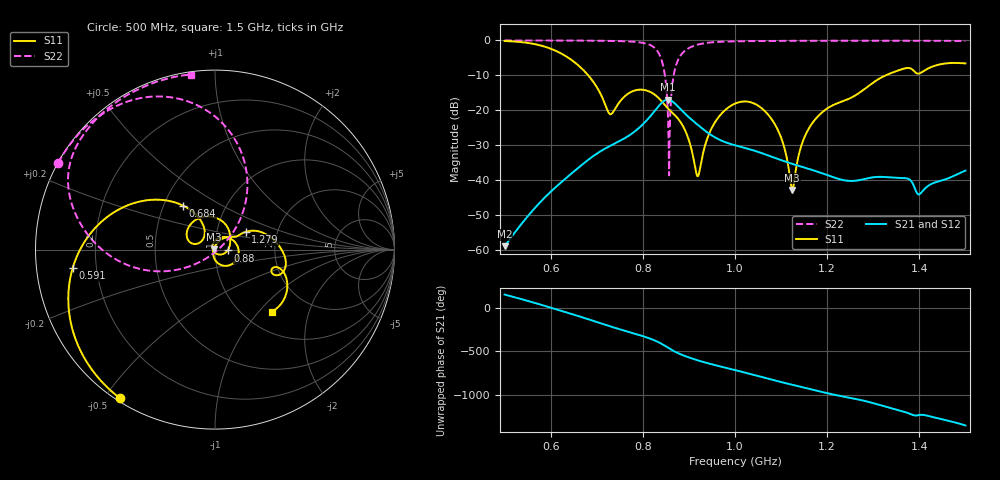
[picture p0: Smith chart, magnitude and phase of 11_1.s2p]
! TOUCHSTONE file generated by CST MICROWAVE STUDIO
! Date and time: Fri Oct  2 18:53:07 2020
! Project name: Scenario_1_Free_Space_out_of_line.cst
! Parameters = {Lambda=346.42; Step_1=17.321; dy1=174.23; dx1=173; L_HA=400; MT=2.54; Rad_Dielectric=30; Rad_Lower=7.3; Rad_Upper=30; a_HA=580; a_WG=246; b_HA=500; b_WG=121; c_HA=0; c_WG=187; d_feed=85; h_feed=15; h_lower=18; h_upper=40}
! Header version: 2018
! Port assignment regex: !\s*Touchstone port\s*([0-9]+)\s*=\s*(CST MWS port|CST DS port)\s*([0-9]+|Zmin|Zmax)\s*\(\"(.*)\"\)(\s*mode\s*([0-9]+))?.*
! Touchstone port assignment:
! Touchstone port 1 = CST MWS port 1 ("")
! Touchstone port 2 = CST MWS port 2 ("")
# GHz S DB R 50
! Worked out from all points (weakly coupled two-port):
!   1003 points, 500 MHz to 1.5 GHz, reference 50 ohm
!   highest |S21| = -16.93 dB at 854 MHz (marker M1); lowest = -58.9 dB at 500 MHz (marker M2)
!   lowest |S11| = -42.8 dB at 1.124 GHz (marker M3), VSWR 1.01, Z = 49.3 + j0.119 ohm
!   |S11| at or under -10 dB: 681.5 MHz to 1.327 GHz (645.5 MHz wide, 64.3 % of centre)
!   |S22| runs from -38.6 to 0.0 dB; largest |S21 - S12| = 2e-05
!   S11 on the Smith chart (normalised r, x): 500 MHz: 0.01, -0.55; 591 MHz: 0.11, -0.06; 684 MHz: 0.63, +0.34; 880 MHz: 1.15, -0.01; 1.279 GHz: 1.38, +0.28; 1.5 GHz: 1.32, -1.18
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0.5  -0.15 -122.8  -58.88 151.2  -58.88 151.2  -0.01 151.1
0.591  -1.94 -172.6  -44.44 15.2  -44.44 15.2  -0.02 144.7
0.667  -7.98 136.2  -35.68 -107.6  -35.68 -107.6  -0.04 138.2
0.684  -10.39 125.9  -33.91 -136.4  -33.91 -136.4  -0.06 136.5
0.729  -21.11 140.8  -30.19 146.0  -30.19 146.0  -0.14 130.9
0.781  -14.38 142.1  -26.19 63.9  -26.19 63.9  -0.39 120.0
0.834  -16.45 66.2  -18.85 -36.2  -18.85 -36.2  -3.53 83.2
0.847  -18.36 46.7  -17.21 -74.1  -17.21 -74.1  -9.27 59.2
0.854  -19.40 37.5  -16.93 -97.0  -16.93 -97.0  -19.71 39.9
0.859  -20.08 30.9  -17.06 -113.3  -17.06 -113.3  -22.59 -136.0
0.867  -21.07 19.3  -17.75 -137.6  -17.75 -137.6  -9.91 -157.7
0.88  -23.01 -3.7  -19.44 -170.7  -19.44 -170.7  -4.69 -176.4
0.919  -38.88 -152.4  -24.14 115.6  -24.14 115.6  -1.21 158.9
0.952  -24.44 79.6  -27.38 66.9  -27.38 66.9  -0.52 148.9
1  -18.08 12.1  -30.00 4.2  -30.00 4.2  -0.26 140.2
1.079  -22.45 -79.1  -33.26 -106.0  -33.26 -106.0  -0.14 131.6
1.124  -42.76 170.5  -35.31 -164.8  -35.31 -164.8  -0.11 127.6
1.167  -23.81 59.1  -37.04 140.0  -37.04 140.0  -0.10 124.1
1.279  -14.11 30.1  -39.73 12.3  -39.73 12.3  -0.09 115.6
1.334  -9.60 9.5  -39.17 -66.1  -39.17 -66.1  -0.09 111.5
1.4  -9.46 -17.9  -44.03 -151.8  -44.03 -151.8  -0.10 106.3
1.5  -6.56 -47.7  -37.27 87.6  -37.26 87.7  -0.14 97.7
